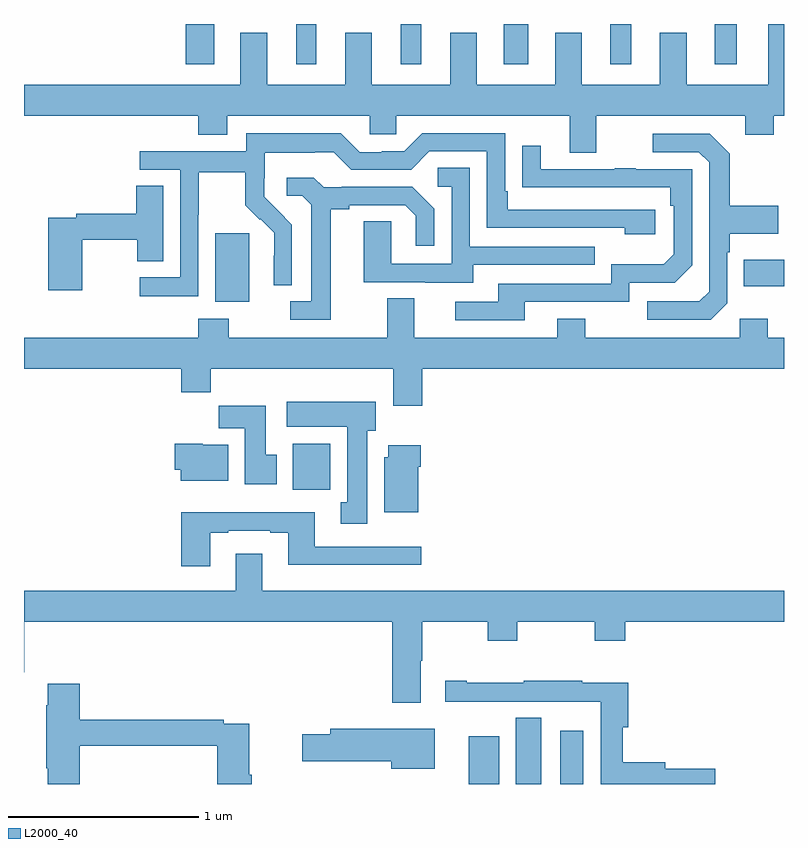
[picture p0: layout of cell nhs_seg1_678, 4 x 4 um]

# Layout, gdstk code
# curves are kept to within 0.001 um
import gdstk
lib = gdstk.Library(unit=1e-6, precision=1e-09)
def R(c, l, rs):  # rectangles x0, y0, x1, y1
    for r in rs: c.add(gdstk.rectangle(r[:2], r[2:], *l))
def P(c, l, *ps):  # polygons
    for p in ps: c.add(gdstk.Polygon(p, *l))
L2000_40 = (2000, 40)

nhs_seg1_678 = lib.new_cell('nhs_seg1_678')
R(nhs_seg1_678, L2000_40, [(149.342,564.199,149.5,564.451), (149.588,564.199,149.722,564.548), (149.822,564.199,149.944,564.478), (148.415,565.748,148.612,565.99), (148.007,566.738,148.186,567.099), (150.787,566.819,151,566.959), (147.851,567.987,148,568.199), (148.433,567.987,148.537,568.199), (148.982,567.987,149.092,568.199), (149.525,567.987,149.653,568.199), (150.086,567.987,150.196,568.199), (150.635,567.987,150.751,568.199)])
P(nhs_seg1_678, L2000_40, [(150.013,567.716),(150.797,567.716),(150.797,567.617),(150.945,567.617),(150.945,567.716),(151,567.716),(151,568.199),(150.917,568.199),(150.917,567.88),(150.487,567.88),(150.487,568.153),(150.347,568.153),(150.347,567.88),(149.935,567.88),(149.935,568.153),(149.795,568.153),(149.795,567.88),(149.383,567.88),(149.383,568.153),(149.243,568.153),(149.243,567.88),(148.831,567.88),(148.831,568.153),(148.691,568.153),(148.691,567.88),(148.279,567.88),(148.279,568.153),(148.139,568.153),(148.139,567.88),(147,567.88),(147,567.716),(147.917,567.716),(147.917,567.617),(148.069,567.617),(148.069,567.716),(148.821,567.716),(148.821,567.618),(148.959,567.618),(148.959,567.716),(149.873,567.716),(149.873,567.522),(150.013,567.522)],
  [(147.918,567.196),(147.921,567.196),(147.921,567.42),(148.165,567.42),(148.165,567.245),(148.242,567.168),(148.245,567.171),(148.316,567.101),(148.316,566.978),(148.314,566.978),(148.314,566.824),(148.41,566.824),(148.41,567.142),(148.264,567.29),(148.264,567.387),(148.266,567.387),(148.266,567.521),(148.529,567.521),(148.529,567.525),(148.629,567.525),(148.722,567.432),(149.037,567.432),(149.133,567.528),(149.436,567.528),(149.436,567.126),(150.161,567.126),(150.161,567.092),(150.322,567.092),(150.322,567.222),(149.545,567.222),(149.545,567.319),(149.532,567.319),(149.532,567.624),(149.097,567.624),(149.001,567.528),(148.883,567.528),(148.883,567.525),(148.767,567.525),(148.667,567.625),(148.17,567.625),(148.17,567.528),(147.609,567.528),(147.609,567.432),(147.822,567.432),(147.822,566.865),(147.609,566.865),(147.609,566.767),(147.918,566.767)],
  [(150.702,566.73),(150.702,566.999),(150.715,566.999),(150.715,567.095),(150.971,567.095),(150.971,567.243),(150.715,567.243),(150.715,567.515),(150.609,567.621),(150.309,567.621),(150.309,567.525),(150.552,567.525),(150.606,567.471),(150.606,566.79),(150.555,566.739),(150.279,566.739),(150.279,566.643),(150.615,566.643)],
  [(149.635,566.736),(150.186,566.736),(150.186,566.838),(150.426,566.838),(150.516,566.928),(150.516,567.435),(150.221,567.435),(150.221,567.44),(150.109,567.44),(150.109,567.435),(149.719,567.435),(149.719,567.559),(149.623,567.559),(149.623,567.34),(150.4,567.339),(150.4,567.242),(150.42,567.242),(150.42,566.988),(150.367,566.935),(150.09,566.935),(150.09,566.832),(149.495,566.832),(149.495,566.736),(149.271,566.736),(149.271,566.64),(149.635,566.64)],
  [(149.365,566.931),(150.005,566.931),(150.005,567.027),(149.346,567.027),(149.346,567.443),(149.178,567.443),(149.178,567.342),(149.25,567.342),(149.25,566.937),(148.932,566.937),(148.932,567.161),(148.787,567.161),(148.787,566.841),(149.111,566.841),(149.111,566.837),(149.365,566.837)],
  [(148.615,567.224),(148.711,567.224),(148.711,567.246),(149.006,567.246),(149.063,567.189),(149.063,567.033),(149.16,567.033),(149.16,567.226),(149.044,567.342),(148.672,567.342),(148.672,567.339),(148.578,567.339),(148.526,567.391),(148.383,567.391),(148.383,567.294),(148.464,567.294),(148.511,567.247),(148.511,566.739),(148.401,566.739),(148.401,566.643),(148.615,566.643)],
  [(147.306,567.064),(147.595,567.064),(147.595,566.95),(147.733,566.95),(147.733,567.347),(147.59,567.347),(147.59,567.2),(147.274,567.2),(147.274,567.18),(147.128,567.18),(147.128,566.799),(147.306,566.799)],
  [(149.096,566.384),(151,566.384),(151,566.548),(150.915,566.548),(150.915,566.647),(150.768,566.647),(150.768,566.548),(149.955,566.548),(149.955,566.647),(149.807,566.647),(149.807,566.548),(149.053,566.548),(149.053,566.756),(148.913,566.756),(148.913,566.548),(148.077,566.548),(148.077,566.647),(147.917,566.647),(147.917,566.548),(147,566.548),(147,566.384),(147.827,566.384),(147.827,566.26),(147.983,566.26),(147.983,566.384),(148.943,566.384),(148.943,566.19),(149.096,566.19)],
  [(148.807,566.058),(148.852,566.058),(148.852,566.212),(148.383,566.212),(148.383,566.078),(148.7,566.078),(148.7,565.682),(148.667,565.682),(148.667,565.569),(148.807,565.569)],
  [(148.33,565.932),(148.273,565.932),(148.273,566.191),(148.024,566.191),(148.024,566.072),(148.163,566.072),(148.163,565.776),(148.33,565.776)],
  [(148.075,565.984),(147.942,565.984),(147.942,565.99),(147.794,565.99),(147.794,565.854),(147.824,565.854),(147.824,565.796),(148.075,565.796)],
  [(149.074,565.868),(149.087,565.868),(149.087,565.981),(148.916,565.981),(148.916,565.92),(148.895,565.92),(148.895,565.628),(149.074,565.628)],
  [(147.979,565.521),(148.075,565.521),(148.075,565.533),(148.295,565.533),(148.295,565.521),(148.391,565.521),(148.391,565.352),(149.092,565.352),(149.092,565.449),(148.531,565.449),(148.531,565.63),(147.827,565.63),(147.827,565.344),(147.979,565.344)],
  [(148.255,565.411),(148.115,565.411),(148.115,565.216),(147,565.216),(147,564.787),(147.002,564.787),(147.002,565.052),(148.937,565.052),(148.937,564.627),(149.089,564.627),(149.089,564.848),(149.097,564.848),(149.097,565.052),(149.44,565.052),(149.44,564.953),(149.595,564.953),(149.595,565.052),(150.004,565.052),(150.004,564.953),(150.164,564.953),(150.164,565.052),(151,565.052),(151,565.216),(148.255,565.216)],
  [(150.637,564.278),(150.376,564.278),(150.376,564.314),(150.152,564.314),(150.152,564.497),(150.179,564.497),(150.179,564.732),(149.939,564.732),(149.939,564.742),(149.629,564.742),(149.629,564.732),(149.329,564.732),(149.329,564.742),(149.217,564.742),(149.217,564.632),(149.492,564.632),(149.492,564.633),(149.826,564.633),(149.826,564.632),(150.036,564.632),(150.036,564.199),(150.637,564.199)],
  [(147.293,564.4),(148.016,564.4),(148.016,564.199),(148.199,564.199),(148.199,564.247),(148.186,564.247),(148.186,564.516),(148.052,564.516),(148.052,564.536),(147.293,564.536),(147.293,564.727),(147.125,564.727),(147.125,564.614),(147.118,564.614),(147.118,564.283),(147.125,564.283),(147.125,564.199),(147.293,564.199)],
  [(149.161,564.49),(148.938,564.49),(148.938,564.491),(148.613,564.491),(148.613,564.461),(148.464,564.461),(148.464,564.319),(148.934,564.319),(148.934,564.278),(149.161,564.278)])

lib.write_gds('nhs_seg1_678.gds')
